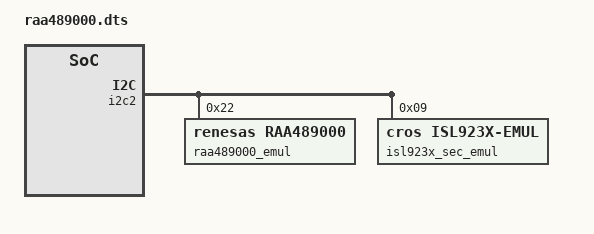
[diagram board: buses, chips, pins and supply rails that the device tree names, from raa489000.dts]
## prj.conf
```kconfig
# Copyright 2025 The ChromiumOS Authors
# Use of this source code is governed by a BSD-style license that can be
# found in the LICENSE file.

CONFIG_PLATFORM_EC_CONSOLE_CMD_TCPC_DUMP=y
CONFIG_PLATFORM_EC_USB_PD_TCPM_RAA489000=y
CONFIG_PLATFORM_EC_CHARGER_RAA489000=y
CONFIG_PLATFORM_EC_CHARGER_ISL9238=n
CONFIG_PLATFORM_EC_CHARGER_PSYS=n
CONFIG_PLATFORM_EC_USB_PD_MAX_VOLTAGE_MV=15000
CONFIG_PLATFORM_EC_OCPC=y
CONFIG_PLATFORM_EC_OCPC_DEF_RBATT_MOHMS=20
```

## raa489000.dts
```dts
/* Copyright 2024 The ChromiumOS Authors
 * Use of this source code is governed by a BSD-style license that can be
 * found in the LICENSE file.
 */

#include <dt-bindings/usb_pd_tcpm.h>

/ {
	usbc {
		port0@0 {
			compatible = "named-usbc-port";
			tcpc = <&raa489000_emul>;
		};

		port1@1 {
			compatible = "named-usbc-port";
			chg = <&isl923x_sec_emul>;
		};
	};
};

&i2c2 {
	status="okay";

	raa489000_emul: raa489000@22 {
		compatible = "renesas,raa489000";
		status = "okay";
		reg = <0x22>;
		tcpc-flags = <(
			TCPC_FLAGS_TCPCI_REV2_0 |
			TCPC_FLAGS_VBUS_MONITOR)>;
	};

	isl923x_sec_emul: isl923x-sec@9 {
		compatible = "cros,isl923x-emul";
		status = "okay";
		reg = <0x9>;
		battery = <&battery>;
	};
};
```

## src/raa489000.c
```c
/* Copyright 2025 The ChromiumOS Authors
 * Use of this source code is governed by a BSD-style license that can be
 * found in the LICENSE file.
 */

#include "charge_state.h"
#include "driver/charger/isl923x.h"
#include "driver/charger/isl923x_public.h"
#include "driver/tcpm/raa489000.h"
#include "driver/tcpm/tcpci.h"
#include "ec_commands.h"
#include "emul/emul_common_i2c.h"
#include "emul/emul_isl923x.h"
#include "emul/tcpc/emul_raa489000.h"
#include "emul/tcpc/emul_tcpci.h"
#include "ocpc.h"
#include "test/drivers/charger_utils.h"
#include "test/drivers/tcpci_test_common.h"
#include "test/drivers/test_state.h"
#include "test/drivers/utils.h"
#include "usb_pd.h"
#include "usb_pd_tcpm.h"

#include <zephyr/drivers/emul.h>
#include <zephyr/fff.h>
#include <zephyr/ztest.h>

#define RAA489000_PORT 0
#define RAA489000_EMUL_NODE DT_NODELABEL(raa489000_emul)

FAKE_VALUE_FUNC(bool, pd_vbus_valid_for_bist, int);

ZTEST(tcpc_raa489000, test_check_vendor)
{
	int v;

	zassert_ok(tcpc_read16(RAA489000_PORT, TCPC_REG_VENDOR_ID, &v));
	zassert_equal(v, 0x45b);

	tcpm_dump_registers(RAA489000_PORT);
}

void raa489000_get_rx_message_raw(const struct emul *emul,
				  struct i2c_common_emul_data *common_data,
				  enum usbc_port port)
{
	const struct tcpm_drv *drv = tcpc_config[port].drv;
	struct tcpci_emul_msg msg;
	uint32_t payload[1];
	/* bist mode message header and payload
	 *
	 * TODO(b/359666332): A BIST Test Data message should have 7 data
	 * objects, although this should not affect the results of this test.
	 */
	uint16_t input_header = PD_HEADER(PD_DATA_BIST, PD_ROLE_SINK,
					  PD_ROLE_UFP, /*msg_id=*/0, /*cnt=*/1,
					  /*rev=*/PD_REV30,
					  /*ext=*/false);
	uint32_t input_bdo = BDO(BDO_MODE_TEST_DATA, 0);
	uint8_t buf[sizeof(input_header) + sizeof(input_bdo)];

	*(uint16_t *)buf = input_header;
	*(uint32_t *)(buf + sizeof(input_header)) = input_bdo;

	int head;
	bool bist_enabled;

	RESET_FAKE(pd_vbus_valid_for_bist);
	pd_vbus_valid_for_bist_fake.return_val = true;

	tcpci_emul_set_reg(emul, TCPC_REG_RX_DETECT,
			   TCPC_REG_RX_DETECT_SOP | TCPC_REG_RX_DETECT_SOPP);

	msg.buf = buf;
	msg.cnt = 31;
	msg.sop_type = TCPCI_MSG_SOP;
	zassert_equal(TCPCI_EMUL_TX_SUCCESS,
		      tcpci_emul_add_rx_msg(emul, &msg, true),
		      "Failed to setup emulator message");

	/* Test fail on reading message */
	i2c_common_emul_set_read_fail_reg(common_data, TCPC_REG_RX_BUFFER);
	zassert_equal(EC_ERROR_UNKNOWN,
		      drv->get_message_raw(port, payload, &head), NULL);
	i2c_common_emul_set_read_fail_reg(common_data,
					  I2C_COMMON_EMUL_NO_FAIL_REG);

	/* Test bist mode true */
	msg.buf = buf;
	msg.cnt = sizeof(buf);
	msg.sop_type = TCPCI_MSG_SOP;
	zassert_equal(TCPCI_EMUL_TX_SUCCESS,
		      tcpci_emul_add_rx_msg(emul, &msg, true),
		      "Failed to setup emulator message");

	zassert_equal(EC_SUCCESS, drv->set_bist_test_mode(port, false));
	zassert_equal(EC_SUCCESS, drv->get_message_raw(port, payload, &head),
		      NULL);
	zassert_equal(EC_SUCCESS, drv->get_bist_test_mode(port, &bist_enabled),
		      NULL);
	zassert_true(bist_enabled, "BIST mode should be enabled");

	/* Test bist mode already true */
	zassert_equal(TCPCI_EMUL_TX_SUCCESS,
		      tcpci_emul_add_rx_msg(emul, &msg, true),
		      "Failed to setup emulator message");

	zassert_equal(EC_SUCCESS, drv->set_bist_test_mode(port, true));
	zassert_equal(EC_SUCCESS, drv->get_message_raw(port, payload, &head),
		      NULL);
	zassert_equal(EC_SUCCESS, drv->get_bist_test_mode(port, &bist_enabled),
		      NULL);
	zassert_true(bist_enabled, "BIST mode should be enabled");
}

ZTEST(tcpc_raa489000, test_raa489000_get_rx_message_raw)
{
	const struct emul *raa489000_emul = EMUL_DT_GET(RAA489000_EMUL_NODE);
	struct i2c_common_emul_data *common_data =
		emul_tcpci_generic_get_i2c_common_data(raa489000_emul);

	/* set battery level to avoid entering low battery status */
	test_set_battery_level(75);

	raa489000_get_rx_message_raw(raa489000_emul, common_data,
				     RAA489000_PORT);
}

ZTEST(tcpc_raa489000, test_init_error)
{
	const struct emul *raa489000_emul = EMUL_DT_GET(RAA489000_EMUL_NODE);
	struct i2c_common_emul_data *common_data =
		emul_tcpci_generic_get_i2c_common_data(raa489000_emul);
	const struct tcpm_drv *drv = tcpc_config[RAA489000_PORT].drv;

	/* Fail reading POWER_STATUS during tcpci_tcpm_init to test error path
	 */
	i2c_common_emul_set_read_fail_reg(common_data, TCPC_REG_POWER_STATUS);
	zassert_not_equal(EC_SUCCESS, drv->init(RAA489000_PORT));
	i2c_common_emul_set_read_fail_reg(common_data,
					  I2C_COMMON_EMUL_NO_FAIL_REG);
}

ZTEST(tcpc_raa489000, test_get_actual_current_read_error)
{
	const struct emul *emul = EMUL_DT_GET(DT_NODELABEL(isl923x_emul));
	struct i2c_common_emul_data *common =
		emul_isl923x_get_i2c_common_data(emul);
	const int chgnum = get_charger_num(&isl923x_drv);
	int current = -1;

	isl923x_emul_reset_registers(emul);

	/* A failed ADC read must not update the output current. */
	i2c_common_emul_set_read_fail_reg(common,
					  RAA489000_REG_ADC_CHARGE_CURRENT);
	zassert_equal(EC_ERROR_INVAL,
		      isl923x_drv.get_actual_current(chgnum, &current));
	zassert_equal(current, -1);

	i2c_common_emul_set_read_fail_reg(common, I2C_COMMON_EMUL_NO_FAIL_REG);
	zassert_ok(isl923x_drv.get_actual_current(chgnum, &current));
	zassert_equal(current, 0);
}

ZTEST(tcpc_raa489000, test_enable_linear_charge_read_error)
{
	const struct emul *emul = EMUL_DT_GET(DT_NODELABEL(isl923x_emul));
	struct i2c_common_emul_data *common =
		emul_isl923x_get_i2c_common_data(emul);
	const int prev_chg = charge_get_active_chg_chip();

	isl923x_emul_reset_registers(emul);
	charge_set_active_chg_chip(CHARGER_SECONDARY);

	/* A failed read must not write CONTROL2 back. */
	i2c_common_emul_set_read_fail_reg(common, ISL923X_REG_CONTROL2);
	zassert_equal(EC_ERROR_UNKNOWN,
		      isl923x_drv.enable_linear_charge(CHARGER_PRIMARY, true));
	zassert_equal(isl923x_emul_peek_reg(emul, ISL923X_REG_CONTROL2), 0);

	i2c_common_emul_set_read_fail_reg(common, I2C_COMMON_EMUL_NO_FAIL_REG);
	zassert_ok(isl923x_drv.enable_linear_charge(CHARGER_PRIMARY, true));
	zassert_equal(isl923x_emul_peek_reg(emul, ISL923X_REG_CONTROL2),
		      GENMASK(15, 13));

	charge_set_active_chg_chip(prev_chg);
}

ZTEST(tcpc_raa489000, test_set_vsys_compensation_read_error)
{
	const struct emul *emul = EMUL_DT_GET(DT_NODELABEL(isl923x_emul));
	const struct emul *sec_emul =
		EMUL_DT_GET(DT_NODELABEL(isl923x_sec_emul));
	struct i2c_common_emul_data *common =
		emul_isl923x_get_i2c_common_data(emul);
	struct ocpc_data ocpc = {
		.rsys_mo = 52,
		.rbatt_mo = 40,
	};

	isl923x_emul_reset_registers(emul);
	isl923x_emul_reset_registers(sec_emul);
	isl923x_emul_set_device_id(sec_emul, RAA489000_DEV_ID_B0);

	/* A failed read must not write the primary CONTROL10 back. */
	i2c_common_emul_set_read_fail_reg(common, RAA489000_REG_CONTROL10);
	zassert_equal(EC_ERROR_UNKNOWN,
		      isl923x_drv.set_vsys_compensation(CHARGER_SECONDARY,
							&ocpc, 1000, 4200));
	zassert_equal(isl923x_emul_peek_reg(emul, RAA489000_REG_CONTROL10), 0);

	i2c_common_emul_set_read_fail_reg(common, I2C_COMMON_EMUL_NO_FAIL_REG);
	zassert_equal(EC_ERROR_UNIMPLEMENTED,
		      isl923x_drv.set_vsys_compensation(CHARGER_SECONDARY,
							&ocpc, 1000, 4200));
	zassert_equal(isl923x_emul_peek_reg(emul, RAA489000_REG_CONTROL10),
		      RAA489000_C10_ENABLE_DVC_CHARGE_MODE);
}

ZTEST_SUITE(tcpc_raa489000, drivers_predicate_post_main, NULL, NULL, NULL,
	    NULL);
```
